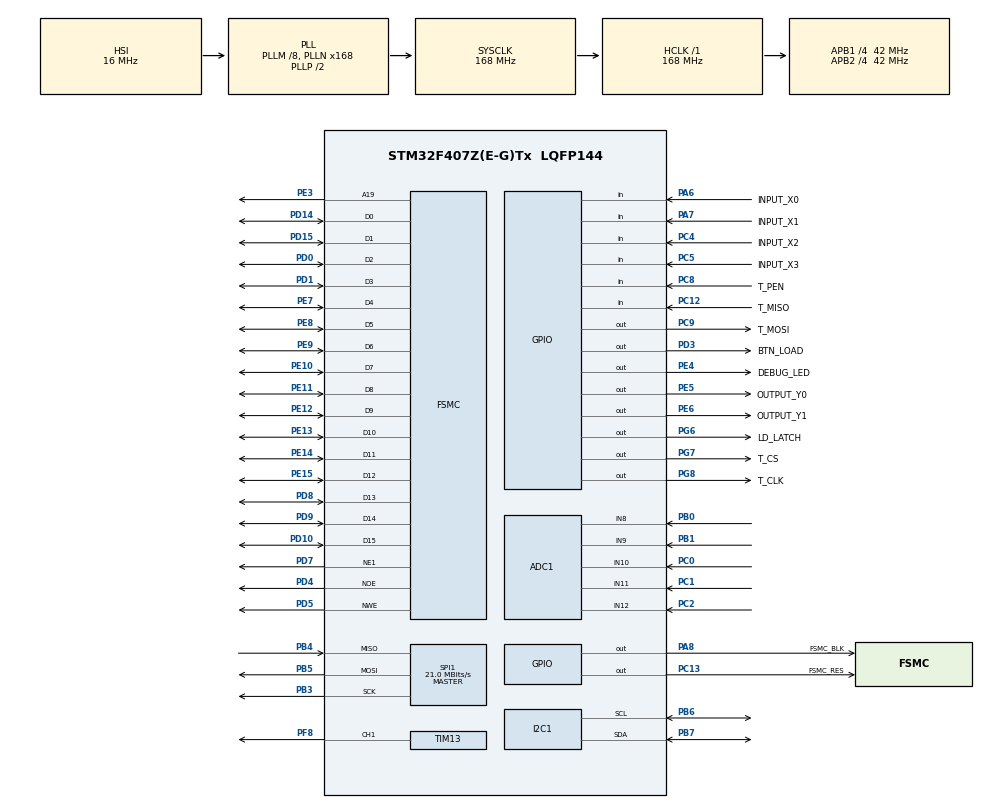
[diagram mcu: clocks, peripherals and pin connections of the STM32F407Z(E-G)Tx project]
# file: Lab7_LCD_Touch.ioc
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ADC1.Channel-0\#ChannelRegularConversion=ADC_CHANNEL_8
ADC1.Channel-1\#ChannelRegularConversion=ADC_CHANNEL_9
ADC1.Channel-2\#ChannelRegularConversion=ADC_CHANNEL_10
ADC1.Channel-3\#ChannelRegularConversion=ADC_CHANNEL_11
ADC1.Channel-4\#ChannelRegularConversion=ADC_CHANNEL_12
ADC1.NbrOfConversion=5
ADC1.NbrOfConversionFlag=1
ADC1.Rank-0\#ChannelRegularConversion=1
ADC1.Rank-1\#ChannelRegularConversion=2
ADC1.Rank-2\#ChannelRegularConversion=3
ADC1.Rank-3\#ChannelRegularConversion=4
ADC1.Rank-4\#ChannelRegularConversion=5
ADC1.SamplingTime-0\#ChannelRegularConversion=ADC_SAMPLETIME_3CYCLES
ADC1.SamplingTime-1\#ChannelRegularConversion=ADC_SAMPLETIME_3CYCLES
ADC1.SamplingTime-2\#ChannelRegularConversion=ADC_SAMPLETIME_3CYCLES
ADC1.SamplingTime-3\#ChannelRegularConversion=ADC_SAMPLETIME_3CYCLES
ADC1.SamplingTime-4\#ChannelRegularConversion=ADC_SAMPLETIME_3CYCLES
ADC1.ScanConvMode=ENABLE
ADC1.master=1
Dma.ADC1.0.Direction=DMA_PERIPH_TO_MEMORY
Dma.ADC1.0.FIFOMode=DMA_FIFOMODE_DISABLE
Dma.ADC1.0.Instance=DMA2_Stream0
Dma.ADC1.0.MemDataAlignment=DMA_MDATAALIGN_HALFWORD
Dma.ADC1.0.MemInc=DMA_MINC_ENABLE
Dma.ADC1.0.Mode=DMA_CIRCULAR
Dma.ADC1.0.PeriphDataAlignment=DMA_PDATAALIGN_HALFWORD
Dma.ADC1.0.PeriphInc=DMA_PINC_DISABLE
Dma.ADC1.0.Priority=DMA_PRIORITY_LOW
Dma.Request0=ADC1
FSMC.AddressSetupTime1=0xf
FSMC.BusTurnAroundDuration1=0
FSMC.DataSetupTime1=60
FSMC.ExtendedAddressSetupTime1=8
FSMC.ExtendedBusTurnAroundDuration1=0
FSMC.ExtendedDataSetupTime1=9
FSMC.ExtendedMode1=FSMC_EXTENDED_MODE_ENABLE
I2C1.I2C_Mode=I2C_Standard
Mcu.Family=STM32F4
Mcu.Name=STM32F407Z(E-G)Tx
Mcu.Package=LQFP144
NVIC.DMA2_Stream0_IRQn=true\:0\:0\:false\:false\:true\:false\:true
NVIC.PriorityGroup=NVIC_PRIORITYGROUP_4
NVIC.TIM2_IRQn=true\:0\:0\:false\:false\:true\:true\:true
PA13.Mode=Serial_Wire
PA13.Signal=SYS_JTMS-SWDIO
PA14.Mode=Serial_Wire
PA14.Signal=SYS_JTCK-SWCLK
PA6.GPIO_Label=INPUT_X0
PA6.Signal=GPIO_Input
PA7.GPIO_Label=INPUT_X1
PA7.Signal=GPIO_Input
PA8.GPIO_Label=FSMC_BLK
PA8.Signal=GPIO_Output
PB0.Signal=ADCx_IN8
PB1.Signal=ADCx_IN9
PB3.Mode=Full_Duplex_Master
PB3.Signal=SPI1_SCK
PB4.Mode=Full_Duplex_Master
PB4.Signal=SPI1_MISO
PB5.Mode=Full_Duplex_Master
PB5.Signal=SPI1_MOSI
PB6.Mode=I2C
PB6.Signal=I2C1_SCL
PB7.Mode=I2C
PB7.Signal=I2C1_SDA
PC0.Signal=ADCx_IN10
PC1.Signal=ADCx_IN11
PC12.GPIO_Label=T_MISO
PC12.GPIO_PuPd=GPIO_PULLUP
PC12.Signal=GPIO_Input
PC13-ANTI_TAMP.GPIO_Label=FSMC_RES
PC13-ANTI_TAMP.Signal=GPIO_Output
PC2.Signal=ADCx_IN12
PC4.GPIO_Label=INPUT_X2
PC4.Signal=GPIO_Input
PC5.GPIO_Label=INPUT_X3
PC5.Signal=GPIO_Input
PC8.GPIO_Label=T_PEN
PC8.GPIO_PuPd=GPIO_PULLUP
PC8.Signal=GPIO_Input
PC9.GPIO_Label=T_MOSI
PC9.Signal=GPIO_Output
PD0.Signal=FSMC_D2_DA2
PD1.Signal=FSMC_D3_DA3
PD10.Signal=FSMC_D15_DA15
PD14.Signal=FSMC_D0_DA0
PD15.Signal=FSMC_D1_DA1
PD3.GPIO_Label=BTN_LOAD
PD3.Signal=GPIO_Output
PD4.Signal=FSMC_NOE
PD5.Signal=FSMC_NWE
PD7.Mode=NorPsramChipSelect1_1
PD7.Signal=FSMC_NE1
PD8.Signal=FSMC_D13_DA13
PD9.Signal=FSMC_D14_DA14
PE10.Signal=FSMC_D7_DA7
PE11.Signal=FSMC_D8_DA8
PE12.Signal=FSMC_D9_DA9
PE13.Signal=FSMC_D10_DA10
PE14.Signal=FSMC_D11_DA11
PE15.Signal=FSMC_D12_DA12
PE3.Signal=FSMC_A19
PE4.GPIO_Label=DEBUG_LED
PE4.Signal=GPIO_Output
PE5.GPIO_Label=OUTPUT_Y0
PE5.Signal=GPIO_Output
PE6.GPIO_Label=OUTPUT_Y1
PE6.Signal=GPIO_Output
PE7.Signal=FSMC_D4_DA4
PE8.Signal=FSMC_D5_DA5
PE9.Signal=FSMC_D6_DA6
PF8.Signal=S_TIM13_CH1
PG6.GPIO_Label=LD_LATCH
PG6.Signal=GPIO_Output
PG7.GPIO_Label=T_CS
PG7.Signal=GPIO_Output
PG8.GPIO_Label=T_CLK
PG8.Signal=GPIO_Output
PH0-OSC_IN.Mode=HSE-External-Oscillator
PH0-OSC_IN.Signal=RCC_OSC_IN
PH1-OSC_OUT.Mode=HSE-External-Oscillator
PH1-OSC_OUT.Signal=RCC_OSC_OUT
ProjectManager.HeapSize=0x200
ProjectManager.StackSize=0x400
ProjectManager.TargetToolchain=STM32CubeIDE
RCC.48MHZClocksFreq_Value=84000000
RCC.AHBFreq_Value=168000000
RCC.APB1CLKDivider=RCC_HCLK_DIV4
RCC.APB1Freq_Value=42000000
RCC.APB1TimFreq_Value=84000000
RCC.APB2CLKDivider=RCC_HCLK_DIV4
RCC.APB2Freq_Value=42000000
RCC.APB2TimFreq_Value=84000000
RCC.CortexFreq_Value=168000000
RCC.HCLKFreq_Value=168000000
RCC.HSE_VALUE=8000000
RCC.HSI_VALUE=16000000
RCC.LSE_VALUE=32768
RCC.PLLM=8
RCC.PLLN=168
RCC.SYSCLKFreq_VALUE=168000000
RCC.SYSCLKSource=RCC_SYSCLKSOURCE_PLLCLK
RCC.VCOOutputFreq_Value=336000000
SH.ADCx_IN10.0=ADC1_IN10,IN10
SH.ADCx_IN11.0=ADC1_IN11,IN11
SH.ADCx_IN12.0=ADC1_IN12,IN12
SH.ADCx_IN8.0=ADC1_IN8,IN8
SH.ADCx_IN9.0=ADC1_IN9,IN9
SH.FSMC_A19.0=FSMC_A19,A19_1
SH.FSMC_D0_DA0.0=FSMC_D0,16b-d1
SH.FSMC_D10_DA10.0=FSMC_D10,16b-d1
SH.FSMC_D11_DA11.0=FSMC_D11,16b-d1
SH.FSMC_D12_DA12.0=FSMC_D12,16b-d1
SH.FSMC_D13_DA13.0=FSMC_D13,16b-d1
SH.FSMC_D14_DA14.0=FSMC_D14,16b-d1
SH.FSMC_D15_DA15.0=FSMC_D15,16b-d1
SH.FSMC_D1_DA1.0=FSMC_D1,16b-d1
SH.FSMC_D2_DA2.0=FSMC_D2,16b-d1
SH.FSMC_D3_DA3.0=FSMC_D3,16b-d1
SH.FSMC_D4_DA4.0=FSMC_D4,16b-d1
SH.FSMC_D5_DA5.0=FSMC_D5,16b-d1
SH.FSMC_D6_DA6.0=FSMC_D6,16b-d1
SH.FSMC_D7_DA7.0=FSMC_D7,16b-d1
SH.FSMC_D8_DA8.0=FSMC_D8,16b-d1
SH.FSMC_D9_DA9.0=FSMC_D9,16b-d1
SH.FSMC_NOE.0=FSMC_NOE,Lcd1
SH.FSMC_NWE.0=FSMC_NWE,Lcd1
SH.S_TIM13_CH1.0=TIM13_CH1,PWM Generation1 CH1
SPI1.BaudRatePrescaler=SPI_BAUDRATEPRESCALER_2
SPI1.CalculateBaudRate=21.0 MBits/s
SPI1.Direction=SPI_DIRECTION_2LINES
SPI1.Mode=SPI_MODE_MASTER
SPI1.VirtualType=VM_MASTER
TIM1.Prescaler=84-1
TIM13.Channel=TIM_CHANNEL_1
TIM13.Period=100-1
TIM13.Prescaler=840-1
TIM2.Period=100-1
TIM2.Prescaler=840-1
VP_TIM13_VS_ClockSourceINT.Mode=Enable_Timer
VP_TIM1_VS_ClockSourceINT.Mode=Internal
VP_TIM2_VS_ClockSourceINT.Mode=Internal
board=custom

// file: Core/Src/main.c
/* USER CODE BEGIN Header */
/**
 ******************************************************************************
 * @file           : main.c
 * @brief          : Main program body
 ******************************************************************************
 * @attention
 *
 * <h2><center>&copy; Copyright (c) 2024 STMicroelectronics.
 * All rights reserved.</center></h2>
 *
 * This software component is licensed by ST under BSD 3-Clause license,
 * the "License"; You may not use this file except in compliance with the
 * License. You may obtain a copy of the License at:
 *                        opensource.org/licenses/BSD-3-Clause
 *
 ******************************************************************************
 */
/* USER CODE END Header */
#include "main.h"
#include "adc.h"
#include "dma.h"
#include "i2c.h"
#include "spi.h"
#include "tim.h"
#include "gpio.h"
#include "fsmc.h"

/* USER CODE BEGIN Includes */
#include "software_timer.h"
#include "led_7seg.h"
#include "button.h"
#include "lcd.h"
#include "picture.h"
#include "ds3231.h"
#include "sensor.h"
#include "buzzer.h"
#include "touch.h"
/* USER CODE END Includes */

/* USER CODE BEGIN PV */
#define INIT 0
#define PLAYING 1
#define GAME_OVER 2

int play_Status = INIT;
int counter = 0;
// Kich thuoc luoi va man hinh
#define GRID_SIZE 20
#define SCREEN_WIDTH 240
#define SCREEN_HEIGHT 320

typedef struct {
	int x, y;
} Point;

Point snake[100];  // Toi da 100 phan tu
int snakeLength = 3;
Point food;
int direction = 0;  // 0: len, 1: xuong, 2: trai, 3: phai
/* USER CODE END PV */

void SystemClock_Config(void);
/* USER CODE BEGIN PFP */
void system_init();
void test_LedDebug();
void playProcess();
void initGame();
void generateFood();
void drawSnake();
void drawFood();
int checkCollision();
void checkFood();
void moveSnake();
void handleDirection();
int isButtonStart();
/* USER CODE END PFP */

int main(void) {

	/* MCU Configuration--------------------------------------------------------*/

	/* Reset of all peripherals, Initializes the Flash interface and the Systick. */
	HAL_Init();

	/* Configure the system clock */
	SystemClock_Config();

	/* Initialize all configured peripherals */
	MX_GPIO_Init();
	MX_TIM2_Init();
	MX_SPI1_Init();
	MX_FSMC_Init();
	MX_I2C1_Init();
	MX_TIM13_Init();
	MX_DMA_Init();
	MX_ADC1_Init();
	MX_TIM1_Init();
	/* USER CODE BEGIN 2 */
	system_init();
	/* USER CODE END 2 */

	/* Infinite loop */
	/* USER CODE BEGIN WHILE */
	touch_Adjust();
	lcd_Clear(BLACK);
	while (1) {
		//scan touch screen
		touch_Scan();
		// 50ms task
		if (flag_timer2 == 1) {
			flag_timer2 = 0;
			playProcess();
			test_LedDebug();
		}

		/* USER CODE END WHILE */

	}
}

void SystemClock_Config(void) {
	RCC_OscInitTypeDef RCC_OscInitStruct = { 0 };
	RCC_ClkInitTypeDef RCC_ClkInitStruct = { 0 };

	/** Configure the main internal regulator output voltage
	 */
	__HAL_RCC_PWR_CLK_ENABLE();
	__HAL_PWR_VOLTAGESCALING_CONFIG(PWR_REGULATOR_VOLTAGE_SCALE1);
	/** Initializes the RCC Oscillators according to the specified parameters
	 * in the RCC_OscInitTypeDef structure.
	 */
	RCC_OscInitStruct.OscillatorType = RCC_OSCILLATORTYPE_HSI;
	RCC_OscInitStruct.HSIState = RCC_HSI_ON;
	RCC_OscInitStruct.HSICalibrationValue = RCC_HSICALIBRATION_DEFAULT;
	RCC_OscInitStruct.PLL.PLLState = RCC_PLL_ON;
	RCC_OscInitStruct.PLL.PLLSource = RCC_PLLSOURCE_HSI;
	RCC_OscInitStruct.PLL.PLLM = 8;
	RCC_OscInitStruct.PLL.PLLN = 168;
	RCC_OscInitStruct.PLL.PLLP = RCC_PLLP_DIV2;
	RCC_OscInitStruct.PLL.PLLQ = 4;
	if (HAL_RCC_OscConfig(&RCC_OscInitStruct) != HAL_OK) {
		Error_Handler();
	}
	/** Initializes the CPU, AHB and APB buses clocks
	 */
	RCC_ClkInitStruct.ClockType = RCC_CLOCKTYPE_HCLK | RCC_CLOCKTYPE_SYSCLK
			| RCC_CLOCKTYPE_PCLK1 | RCC_CLOCKTYPE_PCLK2;
	RCC_ClkInitStruct.SYSCLKSource = RCC_SYSCLKSOURCE_PLLCLK;
	RCC_ClkInitStruct.AHBCLKDivider = RCC_SYSCLK_DIV1;
	RCC_ClkInitStruct.APB1CLKDivider = RCC_HCLK_DIV4;
	RCC_ClkInitStruct.APB2CLKDivider = RCC_HCLK_DIV4;

	if (HAL_RCC_ClockConfig(&RCC_ClkInitStruct, FLASH_LATENCY_5) != HAL_OK) {
		Error_Handler();
	}
}

/* USER CODE BEGIN 4 */
void system_init() {
	timer_init();
	button_init();
	lcd_init();
	touch_init();
	setTimer2(50);
}

uint8_t count_led_debug = 0;

void test_LedDebug() {
	count_led_debug = (count_led_debug + 1) % 20;
	if (count_led_debug == 0) {
		HAL_GPIO_TogglePin(DEBUG_LED_GPIO_Port, DEBUG_LED_Pin);
	}
}

int isButtonStart() {
	if (!touch_IsTouched())
		return 0;
	return touch_GetX() > 60 && touch_GetX() < 180 && touch_GetY() > 140
			&& touch_GetY() < 190;
}

void initGame() {
	// Khoi tao ran
	snakeLength = 3;
	snake[0].x = 5;
	snake[0].y = 5;
	snake[1].x = 5;
	snake[1].y = 6;
	snake[2].x = 5;
	snake[2].y = 7;
	direction = 0;

	// Khoi tao thuc an
	generateFood();
}

void generateFood() {
	food.x = rand() % (SCREEN_WIDTH / GRID_SIZE);
	food.y = rand() % (SCREEN_HEIGHT / GRID_SIZE);
}

void drawSnake() {
	for (int i = 0; i < snakeLength; i++) {
		lcd_Fill(snake[i].x * GRID_SIZE, snake[i].y * GRID_SIZE,
				(snake[i].x + 1) * GRID_SIZE, (snake[i].y + 1) * GRID_SIZE,
				GREEN);
	}
}

void drawFood() {
	lcd_Fill(food.x * GRID_SIZE, food.y * GRID_SIZE, (food.x + 1) * GRID_SIZE,
			(food.y + 1) * GRID_SIZE, RED);
}

int checkCollision() {
	// Va cham voi tuong
	if (snake[0].x < 0|| snake[0].x >= SCREEN_WIDTH / GRID_SIZE ||
	snake[0].y < 0 || snake[0].y >= SCREEN_HEIGHT / GRID_SIZE) {
		return 1;
	}

	// Va cham chinh no
	for (int i = 1; i < snakeLength; i++) {
		if (snake[0].x == snake[i].x && snake[0].y == snake[i].y) {
			return 1;
		}
	}

	return 0;
}

void checkFood() {
	if (snake[0].x == food.x && snake[0].y == food.y) {
		snakeLength++;
		generateFood();
	}
}

void moveSnake() {
	// Di chuyen than ran
	for (int i = snakeLength - 1; i > 0; i--) {
		snake[i] = snake[i - 1];
	}

	// Di chuyen dau ran
	if (direction == 0)
		snake[0].y--;        // Len
	else if (direction == 1)
		snake[0].y++;   // Xuong
	else if (direction == 2)
		snake[0].x--;   // Trai
	else if (direction == 3)
		snake[0].x++;   // Phai
}

void playProcess() {
	switch (play_Status) {
	case INIT:
		lcd_Fill(0, 0, SCREEN_WIDTH, SCREEN_HEIGHT, BLACK);
		lcd_Fill(60, 140, 180, 190, GBLUE);
		lcd_ShowStr(90, 150, "START", WHITE, BLACK, 24, 1);
		if (isButtonStart()) {
			play_Status = PLAYING;
			initGame();
		}
		break;

	case PLAYING:
		lcd_Fill(0, 0, SCREEN_WIDTH, SCREEN_HEIGHT, BLACK);
		lcd_ShowStr(110, 20, "U", RED, BLACK, 24, 1);
		lcd_ShowStr(110, 270, "D", RED, BLACK, 24, 1);
		lcd_ShowStr(20, 160, "L", RED, BLACK, 24, 1);
		lcd_ShowStr(200, 160, "R", RED, BLACK, 24, 1);
		handleDirection();
		counter++;
		if (counter == 10) {
			counter = 0;
			moveSnake();
		}
		if (checkCollision()) {
			play_Status = GAME_OVER;
		} else {
			checkFood();
			drawSnake();
			drawFood();
		}
		break;

	case GAME_OVER:
		lcd_Fill(0, 0, SCREEN_WIDTH, SCREEN_HEIGHT, BLACK);
		lcd_Fill(60, 140, 180, 190, GBLUE);
		lcd_ShowStr(70, 150, "GAME OVER", RED, BLACK, 24, 1);
		if (isButtonStart()) {
			play_Status = INIT;
		}
		break;

	default:
		break;
	}
}

void handleDirection() {
	if (touch_IsTouched()) {
		int x = touch_GetX();
		int y = touch_GetY();

		if (x > 70 && x < 150 && y > 0 && y < 70)
			direction = 0;  // Len
		else if (x > 70 && x < 150 && y > 250 && y < 320)
			direction = 1;  // Xuong
		else if (x > 0 && x < 70 && y > 120 && y < 200)
			direction = 2;  // Trai
		else if (x > 170 && x < 240 && y > 120 && y < 200)
			direction = 3;  // Phai
	}
}
/* USER CODE END 4 */

void Error_Handler(void) {
	__disable_irq();
	while (1) {
	}
}

/************************ (C) COPYRIGHT STMicroelectronics *****END OF FILE****/
